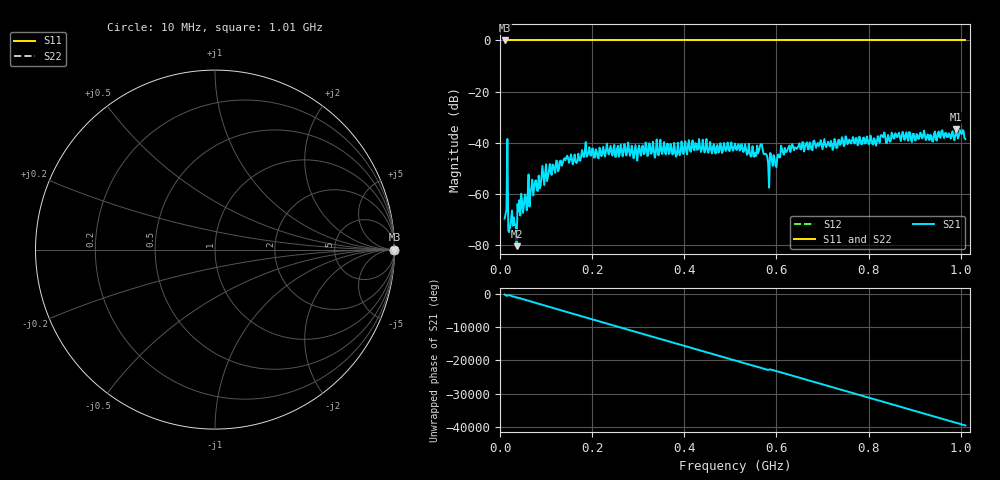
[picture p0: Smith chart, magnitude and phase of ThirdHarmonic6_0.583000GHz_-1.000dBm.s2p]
! 8/15/2025 6:51:52 PM
! C:\ANRITSUVNA\TEMP\TEMP.S2P
! CHANNEL.1
! TR.MEASUREMENT
! RAW.DATA
! RF.CORRECTION.OFF
! AVERAGING.OFF
! IF.BANDWIDTH: 5KHZ
! SWEEPTYPE:  FREQ.SWEEP(Linear)
! Reference Plane Port Info
! PORT:  PORT1  PORT2
! DISTANCE:  0  m  0  m
! TIME:  0  s  0  s
! PHASE.OFFSET:  0  deg.  0  deg.
! LOSS:  0  dB  0  dB
! REF.LOSS:  0  dB  0  dB
! REF.FREQ:  0  Hz  0  Hz
! Power Info
! POWER:  -20  dBm  -20  dBm
! EFF.POWER:  -20  dBm  -20  dBm
! SOURCE.ATTEN:  0  dB  0  dB
! TEST.ATTEN:  0  dB  0  dB
# GHZ S RI R 50.0
! FREQ.GHZ  S11RE  S11IM  S21RE  S21IM  S12RE  S12IM  S22RE  S22IM
!; PortSelection: Port_12
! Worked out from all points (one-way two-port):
!   501 points, 10 MHz to 1.01 GHz, reference 50 ohm
!   highest |S21| = -34.75 dB at 990 MHz (marker M1); lowest = -80.6 dB at 36 MHz (marker M2)
!   lowest |S11| = 0.0 dB at 10 MHz (marker M3)
!   |S11| at or under -10 dB: nowhere
!   |S22| runs from 0.0 to 0.0 dB; largest |S21 - S12| = 1
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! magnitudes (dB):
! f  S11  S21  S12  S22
! 10 MHz  0.0  -69.8  0.0  0.0
! 12 MHz  0.0  -68.1  0.0  0.0
! 20 MHz  0.0  -75.1  0.0  0.0
! 22 MHz  0.0  -73.2  0.0  0.0
! 36 MHz  0.0  -80.6  0.0  0.0
! 42 MHz  0.0  -62.6  0.0  0.0
! 54 MHz  0.0  -60.3  0.0  0.0
! 66 MHz  0.0  -59.5  0.0  0.0
! 84 MHz  0.0  -53.0  0.0  0.0
! 96 MHz  0.0  -56.7  0.0  0.0
! 178 MHz  0.0  -42.9  0.0  0.0
! 344 MHz  0.0  -45.0  0.0  0.0
! 510 MHz  0.0  -40.4  0.0  0.0
! 548 MHz  0.0  -41.4  0.0  0.0
! 566 MHz  0.0  -40.6  0.0  0.0
! 588 MHz  0.0  -44.4  0.0  0.0
! 590 MHz  0.0  -47.1  0.0  0.0
! 614 MHz  0.0  -43.9  0.0  0.0
! 678 MHz  0.0  -43.0  0.0  0.0
! 844 MHz  0.0  -38.3  0.0  0.0
! 990 MHz  0.0  -34.7  0.0  0.0
! 1.01 GHz  0.0  -38.6  0.0  0.0
